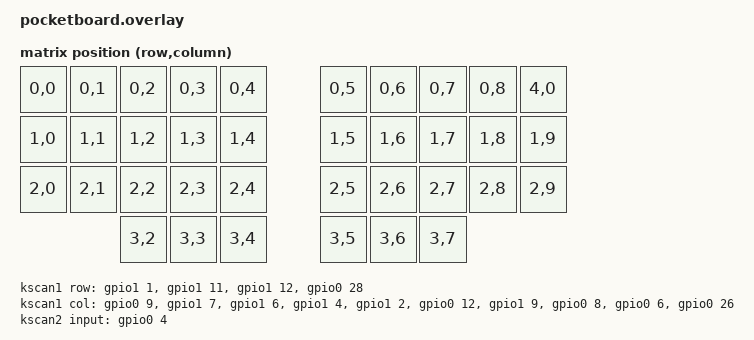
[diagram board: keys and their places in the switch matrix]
/*
 * Copyright (c) 2021 The ZMK Contributors
 *
 * SPDX-License-Identifier: MIT
 */

#include <dt-bindings/zmk/matrix_transform.h>

/ {
    chosen {
        zmk,kscan = &kscan0;
        zmk,matrix-transform = &default_transform;
    };

    default_transform: keymap_transform_0 {
        compatible = "zmk,matrix-transform";
        columns = <10>;
        rows = <4>;

        map = <
            RC(0,0) RC(0,1) RC(0,2) RC(0,3) RC(0,4)         RC(0,5) RC(0,6) RC(0,7) RC(0,8) RC(4,0)
            RC(1,0) RC(1,1) RC(1,2) RC(1,3) RC(1,4)         RC(1,5) RC(1,6) RC(1,7) RC(1,8) RC(1,9)
            RC(2,0) RC(2,1) RC(2,2) RC(2,3) RC(2,4)         RC(2,5) RC(2,6) RC(2,7) RC(2,8) RC(2,9)
                            RC(3,2) RC(3,3) RC(3,4)         RC(3,5) RC(3,6) RC(3,7)
        >;
    };

    kscan0: kscan_composite {
        compatible = "zmk,kscan-composite";
        wakeup-source;

        // Include the matrix driver
        matrix {
            kscan = <&kscan1>;
        };

        // Include the direct GPIO driver...
        direct {
            kscan = <&kscan2>;
            row-offset = <4>;
        };
    };

    kscan1: kscan_matrix {
        compatible = "zmk,kscan-gpio-matrix";
        diode-direction = "col2row";
        wakeup-source;
        col-gpios = <&gpio0 9 GPIO_ACTIVE_HIGH>,
                    <&gpio1 7 GPIO_ACTIVE_HIGH>,
                    <&gpio1 6 GPIO_ACTIVE_HIGH>,
                    <&gpio1 4 GPIO_ACTIVE_HIGH>,
                    <&gpio1 2 GPIO_ACTIVE_HIGH>,
                    <&gpio0 12 GPIO_ACTIVE_HIGH>,
                    <&gpio1 9 GPIO_ACTIVE_HIGH>,
                    <&gpio0 8 GPIO_ACTIVE_HIGH>,
                    <&gpio0 6 GPIO_ACTIVE_HIGH>,
                    <&gpio0 26 GPIO_ACTIVE_HIGH>;

        // Your existing rows, with corrected GPIO flags for col2row
        // Rows are inputs with pull-down, read HIGH when pressed.
        row-gpios = <&gpio1 1 (GPIO_ACTIVE_HIGH | GPIO_PULL_DOWN)>,    // Row 0
                    <&gpio1 11 (GPIO_ACTIVE_HIGH | GPIO_PULL_DOWN)>,   // Row 1
                    <&gpio1 12 (GPIO_ACTIVE_HIGH | GPIO_PULL_DOWN)>,   // Row 2
                    <&gpio0 28 (GPIO_ACTIVE_HIGH | GPIO_PULL_DOWN)>    // Row 3
                    ;

    };

    kscan2: kscan_direct {
        compatible = "zmk,kscan-gpio-direct";
        wakeup-source;
        input-gpios = <&gpio0 4 (GPIO_ACTIVE_LOW | GPIO_PULL_UP)>;
    };
};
